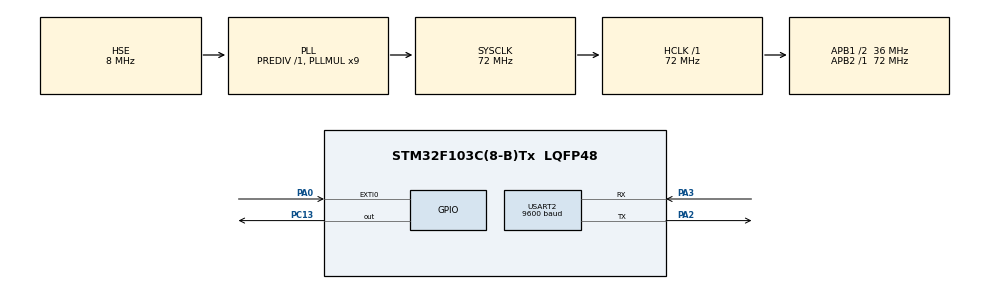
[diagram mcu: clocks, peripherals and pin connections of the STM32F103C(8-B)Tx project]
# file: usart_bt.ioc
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Mcu.Family=STM32F1
Mcu.Name=STM32F103C(8-B)Tx
Mcu.Package=LQFP48
NVIC.EXTI0_IRQn=true\:0\:0\:false\:false\:true\:true\:true
NVIC.PriorityGroup=NVIC_PRIORITYGROUP_4
NVIC.USART2_IRQn=true\:0\:0\:false\:false\:true\:true\:true
PA0-WKUP.GPIO_ModeDefaultEXTI=GPIO_MODE_IT_FALLING
PA0-WKUP.GPIO_PuPd=GPIO_PULLUP
PA0-WKUP.Signal=GPXTI0
PA13.Mode=Serial_Wire
PA13.Signal=SYS_JTMS-SWDIO
PA14.Mode=Serial_Wire
PA14.Signal=SYS_JTCK-SWCLK
PA2.Mode=Asynchronous
PA2.Signal=USART2_TX
PA3.Mode=Asynchronous
PA3.Signal=USART2_RX
PC13-TAMPER-RTC.Signal=GPIO_Output
PD0-OSC_IN.Mode=HSE-External-Oscillator
PD0-OSC_IN.Signal=RCC_OSC_IN
PD1-OSC_OUT.Mode=HSE-External-Oscillator
PD1-OSC_OUT.Signal=RCC_OSC_OUT
ProjectManager.HeapSize=0x200
ProjectManager.StackSize=0x400
ProjectManager.TargetToolchain=MDK-ARM V5
RCC.AHBFreq_Value=72000000
RCC.APB1CLKDivider=RCC_HCLK_DIV2
RCC.APB1Freq_Value=36000000
RCC.APB1TimFreq_Value=72000000
RCC.APB2Freq_Value=72000000
RCC.APB2TimFreq_Value=72000000
RCC.HCLKFreq_Value=72000000
RCC.PLLMUL=RCC_PLL_MUL9
RCC.PLLSourceVirtual=RCC_PLLSOURCE_HSE
RCC.SYSCLKFreq_VALUE=72000000
RCC.SYSCLKSource=RCC_SYSCLKSOURCE_PLLCLK
RCC.USBFreq_Value=72000000
USART2.BaudRate=9600
USART2.VirtualMode=VM_ASYNC
board=custom

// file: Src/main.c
/* USER CODE BEGIN Header */
/**
  ******************************************************************************
  * @file           : main.c
  * @brief          : Main program body
  ******************************************************************************
  * @attention
  *
  * <h2><center>&copy; Copyright (c) 2020 STMicroelectronics.
  * All rights reserved.</center></h2>
  *
  * This software component is licensed by ST under BSD 3-Clause license,
  * the "License"; You may not use this file except in compliance with the
  * License. You may obtain a copy of the License at:
  *                        opensource.org/licenses/BSD-3-Clause
  *
  ******************************************************************************
  */
/* USER CODE END Header */

#include "main.h"

/* USER CODE BEGIN Includes */
#include "string.h"
#include "stdio.h"
/* USER CODE END Includes */

/* USER CODE BEGIN PTD */
#include "bt_commands.h"
/* USER CODE END PTD */

/* USER CODE BEGIN PD */
uint32_t string_size = 0;
uint32_t string_length = 0;
uint8_t cycleBuf_count = 0;
//char ar_commands[15][15];
char strings[32];
//extern char *c;
/* USER CODE END PD */

UART_HandleTypeDef huart2;

/* USER CODE BEGIN PV */
BtModuleTypeDef bt;

BtTxMsgTypeDef TxMes;
BtRxMsgTypeDef RxMes;
uint8_t len = 6;
RingBufTypeDef ringBuf_btCommands;
typedef struct
{
	uint8_t canRx;
	uint8_t btRx;
}FlagTypeDef;
FlagTypeDef flag;
uint8_t muteOnDbg = 0;
uint8_t muteOffDbg = 0;
/* USER CODE END PV */

void SystemClock_Config(void);
static void MX_GPIO_Init(void);
static void MX_USART2_UART_Init(void);
/* USER CODE BEGIN PFP */
void HAL_GPIO_EXTI_Callback(uint16_t GPIO_Pin);

/* USER CODE END PFP */

/* USER CODE BEGIN 0 */
void HAL_GPIO_EXTI_Callback(uint16_t GPIO_Pin)
{
	if(GPIO_Pin== GPIO_PIN_0)
	{

	}
}
void HAL_UART_RxCpltCallback(UART_HandleTypeDef *huart)
{
	static uint32_t rx_counter = 0;
		//HAL_UART_Receive_IT(&huart2, RxMes.short_resp, len);
		HAL_UART_Receive_IT(&huart2, &bt.var, 1);
	if ( ((bt.var == 'B')||(bt.var == 'S')||(bt.var == 'O')) && bt.prVar!='C' )
	{
		for(uint8_t i = 0; i < 10; i++)
		{ bt.rx_buf[i] = 0; }
	}
	if (bt.var != 0x0A)
	{
		bt.rx_buf[rx_counter++] = bt.var;
	}
	else if (bt.var == 0x0A)
	{
		rx_counter = 0;
		flag.btRx = 1;
	}
	//flag.btRx = 1;
	bt.prVar = bt.var;
}
void HAL_UART_TxCpltCallback(UART_HandleTypeDef *huart)
{

}
void HAL_UART_ErrorCallback(UART_HandleTypeDef *huart)
{

}

void RING_Put(BtCommandTypeDef command, RingBufTypeDef* buf)
{
		buf->buffer[buf->idxIn++]= command;
    if (buf->idxIn >= CYCLE_BUF_SIZE_x) buf->idxIn = 0;
}
BtCommandTypeDef RING_Pop(RingBufTypeDef* buf)
{
	BtCommandTypeDef retval = buf->buffer[buf->idxOut++];
	if (buf->idxOut >= CYCLE_BUF_SIZE_x) buf->idxOut = 0;
	return retval;
}
uint8_t RING_GetCount(RingBufTypeDef* buf)
{
    uint8_t retval = 0;
    if (buf->idxIn < buf->idxOut) retval = CYCLE_BUF_SIZE_x + buf->idxIn - buf->idxOut;
    else retval = buf->idxIn - buf->idxOut;
    return retval;
}
void RING_Clear(RingBufTypeDef* buf)
{
    buf->idxIn = 0;
    buf->idxOut = 0;
}/*
void RING_Init(RingBufTypeDef* buf)
{
    buf->size = size;
    buf->buffer = test_array[][];//(uint8_t*) malloc(size);
    RING_Clear(buf);
}*/
void bt_mute(uint8_t on, uint8_t *Vol)
{
	if (on)
	{
		HAL_UART_Transmit(&huart2, (uint8_t*)BT_VOLUME_QUERY, strlen(BT_VOLUME_QUERY), 100);
		bt.ticks = HAL_GetTick();
		while (!flag.btRx)
		{
			if (HAL_GetTick() - bt.ticks > 100)
			{
				bt.err = 1;
				break;
			}
		}

			flag.btRx = 0;
			Vol[0] = bt.rx_buf[5];
			Vol[1] = bt.rx_buf[6];

	}
	else
	{
		uint8_t vol_com[9] = {'C', 'O', 'M', '+', 'V', Vol[0], Vol[1], '\r', '\n'};
		HAL_UART_Transmit(&huart2, vol_com, strlen((const char*)vol_com), 100);
	}
}

/* USER CODE END 0 */

int main(void)
{
  /* USER CODE BEGIN 1 */
	//ar_commands[15][15];
	//strcpy(&ar_commands[toOn][0], "COM+PWOS\r\n");
	//strcpy(&ar_commands[toOff][0], "COM+PWDS\r\n");
	//strcpy(TxMes.On, "COM+PWOS\r\n");
	//strcpy(TxMes.Off, "COM+PWDS\r\n");
	bt.pBtTxMsg = &TxMes;
	bt.pBtRxMsg = &RxMes;
	//strings[0] = c[0];

  /* USER CODE END 1 */

  /* MCU Configuration--------------------------------------------------------*/

  /* Reset of all peripherals, Initializes the Flash interface and the Systick. */
  HAL_Init();

  /* Configure the system clock */
  SystemClock_Config();

  /* Initialize all configured peripherals */
  MX_GPIO_Init();
  MX_USART2_UART_Init();
  /* USER CODE BEGIN 2 */
	//HAL_UART_Receive_IT(&huart2, RxMes.short_resp, len);
	HAL_UART_Receive_IT(&huart2, &bt.var, 1);
  /* USER CODE END 2 */

  /* Infinite loop */
  /* USER CODE BEGIN WHILE */
	string_size = sizeof(BT_ON);
	string_length = strlen(&bt_commands[toOn][0]);
	//bt.command = toOn;
	RING_Put(toNop, &ringBuf_btCommands);

	RING_Put(toNop, &ringBuf_btCommands);

	RING_Put(toNop, &ringBuf_btCommands);

	RING_Put(toNop, &ringBuf_btCommands);

	bt.ticks = HAL_GetTick();
  while (1)
  {
		/*if (bt.command == toOn)
		{

			//HAL_UART_Transmit(&huart2, (uint8_t*)BT_ON, strlen(BT_ON), 100);
			HAL_UART_Transmit(&huart2, (uint8_t*)&ar_commands[toOn][0], strlen(&ar_commands[toOn][0]), 100);
			bt.command = toNop;
		}
		else if (bt.command == toOff)
		{

			HAL_UART_Transmit(&huart2, (uint8_t*)BT_OFF, strlen(BT_OFF), 100);
			bt.command = toNop;
		}*/

		//if (bt.command != toNop)
		//{
		if (muteOnDbg)
		{
			muteOnDbg = 0;
			bt_mute(1, bt.vol);
		}
		if (muteOffDbg)
		{
			muteOffDbg = 0;
			bt_mute(0, bt.vol);
		}

		if (HAL_GetTick() - bt.ticks > 100)
		{
			bt.ticks = HAL_GetTick();
			cycleBuf_count = RING_GetCount(&ringBuf_btCommands);
			if (cycleBuf_count)
			{
				bt.command = RING_Pop(&ringBuf_btCommands);
				if (bt.command != toNop)
					HAL_UART_Transmit(&huart2, (uint8_t*)&bt_commands[bt.command][0], strlen(&bt_commands[bt.command][0]), 100);
				bt.command = toNop;
			}
		}
    /* USER CODE END WHILE */

  }
}

void SystemClock_Config(void)
{
  RCC_OscInitTypeDef RCC_OscInitStruct = {0};
  RCC_ClkInitTypeDef RCC_ClkInitStruct = {0};

  /** Initializes the CPU, AHB and APB busses clocks
  */
  RCC_OscInitStruct.OscillatorType = RCC_OSCILLATORTYPE_HSE;
  RCC_OscInitStruct.HSEState = RCC_HSE_ON;
  RCC_OscInitStruct.HSEPredivValue = RCC_HSE_PREDIV_DIV1;
  RCC_OscInitStruct.HSIState = RCC_HSI_ON;
  RCC_OscInitStruct.PLL.PLLState = RCC_PLL_ON;
  RCC_OscInitStruct.PLL.PLLSource = RCC_PLLSOURCE_HSE;
  RCC_OscInitStruct.PLL.PLLMUL = RCC_PLL_MUL9;
  if (HAL_RCC_OscConfig(&RCC_OscInitStruct) != HAL_OK)
  {
    Error_Handler();
  }
  /** Initializes the CPU, AHB and APB busses clocks
  */
  RCC_ClkInitStruct.ClockType = RCC_CLOCKTYPE_HCLK|RCC_CLOCKTYPE_SYSCLK
                              |RCC_CLOCKTYPE_PCLK1|RCC_CLOCKTYPE_PCLK2;
  RCC_ClkInitStruct.SYSCLKSource = RCC_SYSCLKSOURCE_PLLCLK;
  RCC_ClkInitStruct.AHBCLKDivider = RCC_SYSCLK_DIV1;
  RCC_ClkInitStruct.APB1CLKDivider = RCC_HCLK_DIV2;
  RCC_ClkInitStruct.APB2CLKDivider = RCC_HCLK_DIV1;

  if (HAL_RCC_ClockConfig(&RCC_ClkInitStruct, FLASH_LATENCY_2) != HAL_OK)
  {
    Error_Handler();
  }
}

static void MX_USART2_UART_Init(void)
{

  huart2.Instance = USART2;
  huart2.Init.BaudRate = 9600;
  huart2.Init.WordLength = UART_WORDLENGTH_8B;
  huart2.Init.StopBits = UART_STOPBITS_1;
  huart2.Init.Parity = UART_PARITY_NONE;
  huart2.Init.Mode = UART_MODE_TX_RX;
  huart2.Init.HwFlowCtl = UART_HWCONTROL_NONE;
  huart2.Init.OverSampling = UART_OVERSAMPLING_16;
  if (HAL_UART_Init(&huart2) != HAL_OK)
  {
    Error_Handler();
  }

}

static void MX_GPIO_Init(void)
{
  GPIO_InitTypeDef GPIO_InitStruct = {0};

  /* GPIO Ports Clock Enable */
  __HAL_RCC_GPIOC_CLK_ENABLE();
  __HAL_RCC_GPIOD_CLK_ENABLE();
  __HAL_RCC_GPIOA_CLK_ENABLE();
  __HAL_RCC_GPIOB_CLK_ENABLE();

  /*Configure GPIO pin Output Level */
  HAL_GPIO_WritePin(GPIOC, GPIO_PIN_13, GPIO_PIN_RESET);

  /*Configure GPIO pin : PC13 */
  GPIO_InitStruct.Pin = GPIO_PIN_13;
  GPIO_InitStruct.Mode = GPIO_MODE_OUTPUT_PP;
  GPIO_InitStruct.Pull = GPIO_NOPULL;
  GPIO_InitStruct.Speed = GPIO_SPEED_FREQ_LOW;
  HAL_GPIO_Init(GPIOC, &GPIO_InitStruct);

  /*Configure GPIO pins : PC14 PC15 */
  GPIO_InitStruct.Pin = GPIO_PIN_14|GPIO_PIN_15;
  GPIO_InitStruct.Mode = GPIO_MODE_ANALOG;
  HAL_GPIO_Init(GPIOC, &GPIO_InitStruct);

  /*Configure GPIO pin : PA0 */
  GPIO_InitStruct.Pin = GPIO_PIN_0;
  GPIO_InitStruct.Mode = GPIO_MODE_IT_FALLING;
  GPIO_InitStruct.Pull = GPIO_PULLUP;
  HAL_GPIO_Init(GPIOA, &GPIO_InitStruct);

  /*Configure GPIO pins : PA1 PA4 PA5 PA6
                           PA7 PA8 PA9 PA10
                           PA11 PA12 PA15 */
  GPIO_InitStruct.Pin = GPIO_PIN_1|GPIO_PIN_4|GPIO_PIN_5|GPIO_PIN_6
                          |GPIO_PIN_7|GPIO_PIN_8|GPIO_PIN_9|GPIO_PIN_10
                          |GPIO_PIN_11|GPIO_PIN_12|GPIO_PIN_15;
  GPIO_InitStruct.Mode = GPIO_MODE_ANALOG;
  HAL_GPIO_Init(GPIOA, &GPIO_InitStruct);

  /*Configure GPIO pins : PB0 PB1 PB2 PB10
                           PB11 PB12 PB13 PB14
                           PB15 PB3 PB4 PB5
                           PB6 PB7 PB8 PB9 */
  GPIO_InitStruct.Pin = GPIO_PIN_0|GPIO_PIN_1|GPIO_PIN_2|GPIO_PIN_10
                          |GPIO_PIN_11|GPIO_PIN_12|GPIO_PIN_13|GPIO_PIN_14
                          |GPIO_PIN_15|GPIO_PIN_3|GPIO_PIN_4|GPIO_PIN_5
                          |GPIO_PIN_6|GPIO_PIN_7|GPIO_PIN_8|GPIO_PIN_9;
  GPIO_InitStruct.Mode = GPIO_MODE_ANALOG;
  HAL_GPIO_Init(GPIOB, &GPIO_InitStruct);

  /* EXTI interrupt init*/
  HAL_NVIC_SetPriority(EXTI0_IRQn, 0, 0);
  HAL_NVIC_EnableIRQ(EXTI0_IRQn);

}

void Error_Handler(void)
{
}

/************************ (C) COPYRIGHT STMicroelectronics *****END OF FILE****/
